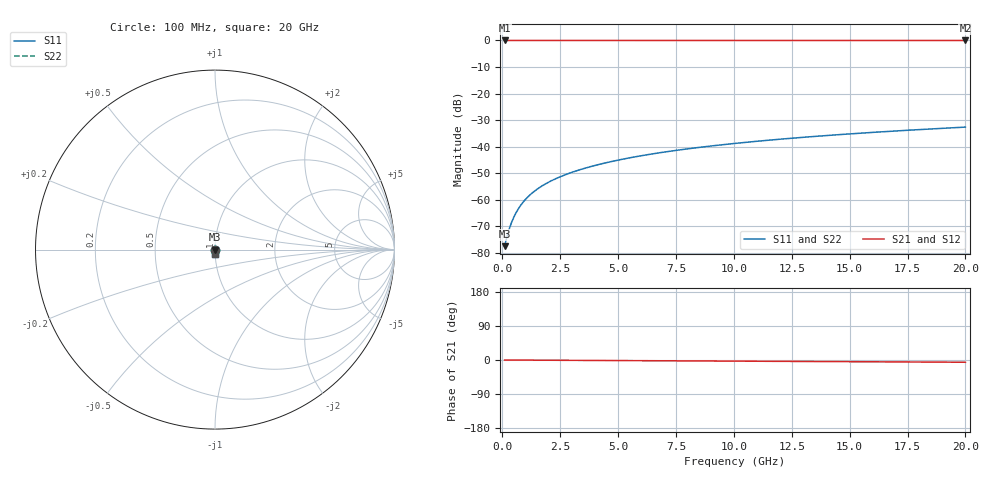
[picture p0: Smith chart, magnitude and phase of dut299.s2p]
! Touchstone file exported from HFSS 2026.1.0
!  File:  C:/ffzhzh/LocalFiles/Ansys_Project_Files/temp_train_TSV_299_1782993937_40604.aedt
!  Generated:  08:07:07 PM Jul  2, 2026
!  Design:  TSV
!  Project:  temp_train_TSV_299_1782993937_40604
! Variables:
!  h_bsmrdl = 2um
!  h_ox = 20um
!  h_rdl = 5um
!  h_sub = 58.31um
!  h_tmrdl = 5um
!  h_tsv = 58.31um
!  h_via = 3um
!  l_bsmrdl = 300um
!  l_sub = 419.72um
!  l_tmrdl = 200um
!  m_sub = 200um
!  pitch = 31.98um
!  r_tsv = 9.86um
!  s_tmrdl = 10um
!  w_bsmrdl = 18um
!  w_sub = 500um
!  w_tmrdl = 12um
!  x_tsv_center1 = 206um
!  x_tsv_center2 = 524um
!  x_tsv_center3 = 736um
!  x_tsv_center4 = 1054um
!  x_tsv_center5 = 1266um
!  x_tsv_center6 = 1584um
# GHz S MA R 50.000000
! Terminal data exported
! Port[1] = TSV1_1_T1
! Port[2] = TSV1_1_T2
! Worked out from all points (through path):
!   200 points, 100 MHz to 20 GHz, reference 50 ohm
!   highest |S21| = 0.00 dB at 100 MHz (marker M1); lowest = 0.0 dB at 20 GHz (marker M2)
!   lowest |S11| = -77.5 dB at 100 MHz (marker M3), VSWR 1.00, Z = 50 - j0.00787 ohm
!   |S11| at or under -10 dB: start of sweep to end of sweep
!   |S22| runs from -77.5 to -32.6 dB; largest |S21 - S12| = 5.2e-15
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0.1  0.0001339 -36.0  0.9999 -0.0  0.9999 -0.0  0.0001339 -36.0
! Gamma 0 0 0 0
! Port Impedance 50 0 50 0
0.2  0.0002003 -53.2  0.9999 -0.1  0.9999 -0.1  0.0002003 -53.2
0.3  0.0002826 -61.0  0.9999 -0.1  0.9999 -0.1  0.0002826 -61.0
0.4  0.0003744 -65.2  0.9998 -0.1  0.9998 -0.1  0.0003744 -65.2
0.5  0.000473 -67.9  0.9998 -0.2  0.9998 -0.2  0.000473 -67.9
0.6  0.0005765 -70.0  0.9998 -0.2  0.9998 -0.2  0.0005765 -70.0
0.8  0.0007927 -72.9  0.9998 -0.2  0.9998 -0.2  0.0007927 -72.9
1.1  0.001128 -76.1  0.9997 -0.3  0.9997 -0.3  0.001128 -76.1
1.3  0.001353 -77.6  0.9997 -0.4  0.9997 -0.4  0.001353 -77.6
1.5  0.00158 -78.9  0.9997 -0.5  0.9997 -0.5  0.00158 -78.9
1.8  0.001919 -80.3  0.9997 -0.5  0.9997 -0.5  0.001919 -80.3
2.1  0.002259 -81.4  0.9996 -0.6  0.9996 -0.6  0.002259 -81.4
2.7  0.00294 -83.0  0.9996 -0.8  0.9996 -0.8  0.00294 -83.0
3.5  0.003854 -84.3  0.9995 -1.1  0.9995 -1.1  0.003854 -84.3
4.2  0.004659 -85.2  0.9995 -1.3  0.9995 -1.3  0.004659 -85.2
5  0.005586 -85.9  0.9994 -1.5  0.9994 -1.5  0.005586 -85.9
6.8  0.007691 -87.3  0.9993 -2.0  0.9993 -2.0  0.007691 -87.3
8.3  0.009458 -88.2  0.9992 -2.5  0.9992 -2.5  0.009458 -88.2
10.1  0.01159 -89.2  0.9992 -3.0  0.9992 -3.0  0.01159 -89.2
13.4  0.0155 -90.7  0.999 -4.0  0.999 -4.0  0.0155 -90.7
16.7  0.01942 -92.0  0.9988 -5.0  0.9988 -5.0  0.01942 -92.0
20  0.02335 -93.2  0.9986 -5.9  0.9986 -5.9  0.02335 -93.2
